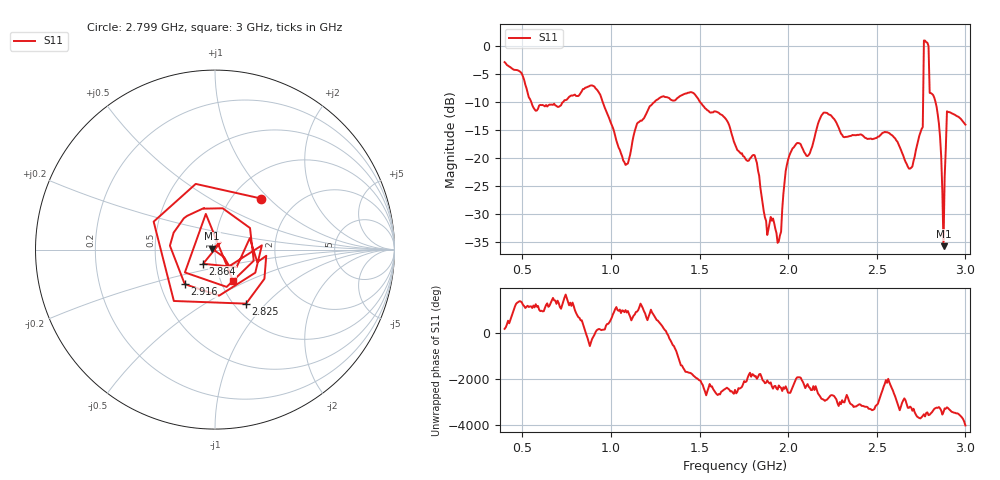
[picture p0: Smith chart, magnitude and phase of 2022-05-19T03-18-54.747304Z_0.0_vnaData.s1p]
!Created with skrf (http://scikit-rf.org).
# Hz S RI R 50.0
!freq ReS11 ImS11
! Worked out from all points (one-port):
!   401 points, 400 MHz to 3 GHz, reference 50 ohm
!   lowest |S11| = -35.8 dB at 2.877 GHz (marker M1), VSWR 1.03, Z = 48.5 + j0.508 ohm
!   |S11| at or under -10 dB: 550.8 MHz to 728.7 MHz (177.9 MHz wide, 27.8 % of centre); 953.9 MHz to 1.245 GHz (290.8 MHz wide, 26.5 % of centre); 1.504 GHz to 2.761 GHz (1.258 GHz wide, 59 % of centre) (the widest 3 of 4)
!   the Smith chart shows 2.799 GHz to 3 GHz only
!   S11 on the Smith chart (normalised r, x): 2.799 GHz: 1.35, +0.90; 2.825 GHz: 1.14, -0.78; 2.864 GHz: 0.87, -0.14; 2.916 GHz: 0.67, -0.27; 3 GHz: 1.14, -0.41
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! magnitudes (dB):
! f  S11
! 400 MHz  -2.8
! 569 MHz  -11.3
! 725 MHz  -10.1
! 907 MHz  -7.2
! 1.05 GHz  -18.5
! 1.089 GHz  -21.1
! 1.226 GHz  -10.6
! 1.375 GHz  -9.2
! 1.7 GHz  -17.5
! 1.81 GHz  -19.5
! 1.875 GHz  -31.2
! 1.947 GHz  -34.9
! 1.992 GHz  -21.3
! 2.025 GHz  -18.3
! 2.116 GHz  -19.4
! 2.207 GHz  -11.9
! 2.35 GHz  -16.0
! 2.571 GHz  -15.5
! 2.675 GHz  -21.5
! 2.747 GHz  -15.4
! 2.779 GHz  0.7
! 2.799 GHz  -8.3
! 2.825 GHz  -9.2
! 2.85 GHz  -13.8
! 2.864 GHz  -19.7
! 2.877 GHz  -35.8
! 2.916 GHz  -11.8
! 3 GHz  -14.0
